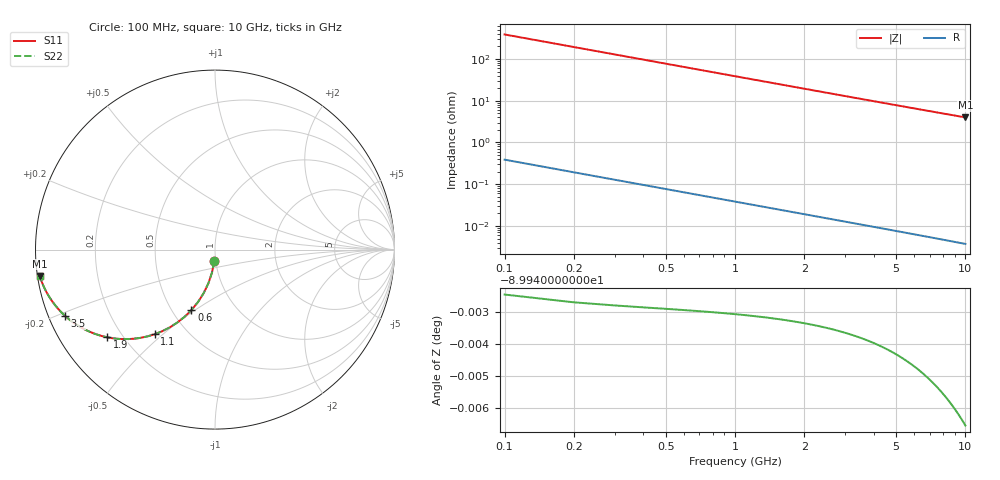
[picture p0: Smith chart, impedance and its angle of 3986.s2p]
# Hz S RI R 50.00
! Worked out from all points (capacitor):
!   100 points, 100 MHz to 10 GHz, reference 50 ohm
!   read as one part in shunt: C = 4.13 pF near 100 MHz
!   lowest |Z| = 3.98 ohm at 10 GHz (marker M1)
!   S11 on the Smith chart (normalised r, x): 100 MHz: 0.98, -0.13; 600 MHz: 0.62, -0.48; 1.1 GHz: 0.33, -0.47; 1.9 GHz: 0.14, -0.35; 3.5 GHz: 0.05, -0.21; 10 GHz: 0.01, -0.08
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1e8  -0.00425 -0.0646  0.9957 -0.0647  0.9957 -0.0647  -0.00425 -0.0646
2e8  -0.0167 -0.1275  0.9833 -0.1277  0.9833 -0.1277  -0.0167 -0.1275
3e8  -0.0367 -0.1874  0.9633 -0.1876  0.9633 -0.1876  -0.0367 -0.1874
4e8  -0.0633 -0.2428  0.9367 -0.2432  0.9367 -0.2432  -0.0633 -0.2428
5e8  -0.0954 -0.2931  0.9046 -0.2935  0.9046 -0.2935  -0.0954 -0.2931
6e8  -0.1318 -0.3375  0.8682 -0.338  0.8682 -0.338  -0.1318 -0.3375
8e8  -0.2122 -0.4081  0.7878 -0.4087  0.7878 -0.4087  -0.2122 -0.4081
9e8  -0.2541 -0.4345  0.7458 -0.4352  0.7458 -0.4352  -0.2541 -0.4345
1.1e9  -0.3371 -0.4718  0.6629 -0.4726  0.6629 -0.4726  -0.3371 -0.4718
1.4e9  -0.4512 -0.4966  0.5488 -0.4977  0.5488 -0.4977  -0.4512 -0.4966
1.8e9  -0.5756 -0.493  0.4244 -0.4945  0.4244 -0.4945  -0.5756 -0.493
1.9e9  -0.6017 -0.4883  0.3983 -0.4898  0.3983 -0.4898  -0.6017 -0.4883
2.2e9  -0.6691 -0.4692  0.3309 -0.4709  0.3309 -0.4709  -0.6691 -0.4692
2.6e9  -0.7382 -0.4381  0.2618 -0.4402  0.2618 -0.4402  -0.7382 -0.4381
3e9  -0.7893 -0.4061  0.2107 -0.4085  0.2107 -0.4085  -0.7893 -0.4061
3.4e9  -0.8277 -0.3758  0.1723 -0.3785  0.1723 -0.3785  -0.8277 -0.3758
3.5e9  -0.8358 -0.3686  0.1642 -0.3714  0.1642 -0.3714  -0.8358 -0.3686
4.2e9  -0.8797 -0.3232  0.1203 -0.3265  0.1203 -0.3265  -0.8797 -0.3232
5.1e9  -0.9149 -0.2764  0.0851 -0.2805  0.0851 -0.2805  -0.9149 -0.2764
6.7e9  -0.9487 -0.2173  0.0512 -0.2227  0.0512 -0.2227  -0.9487 -0.2173
8.4e9  -0.9667 -0.1753  0.0332 -0.1822  0.0332 -0.1822  -0.9667 -0.1753
1e10  -0.9763 -0.1474  0.0236 -0.1556  0.0236 -0.1556  -0.9763 -0.1474
